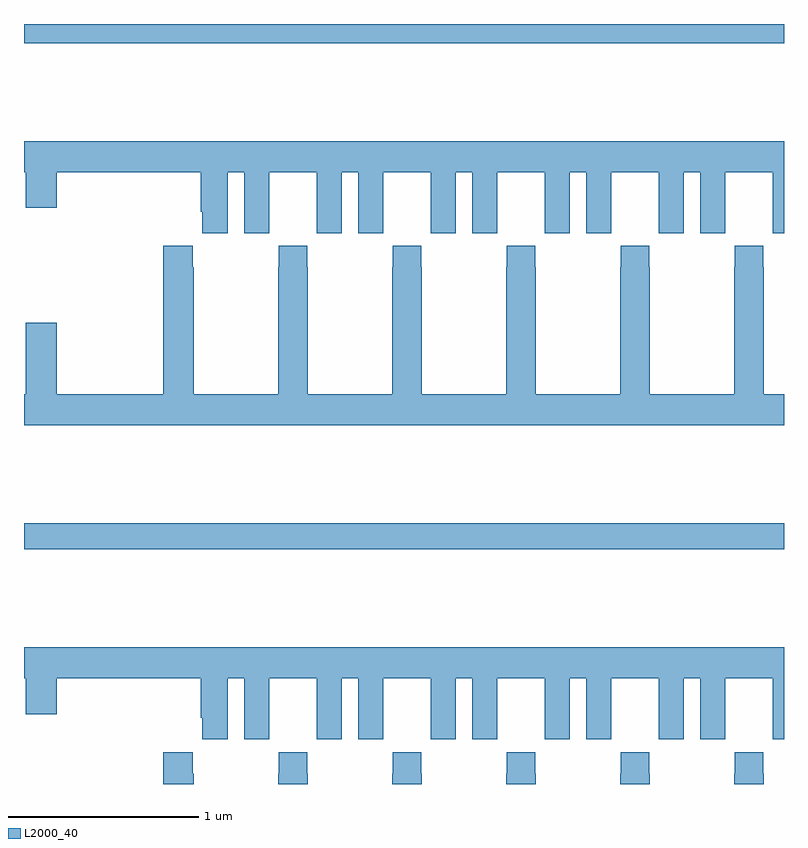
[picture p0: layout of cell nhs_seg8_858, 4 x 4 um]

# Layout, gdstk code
import gdstk
lib = gdstk.Library(unit=1e-6, precision=1e-09)
def R(c, l, rs):  # rectangles x0, y0, x1, y1
    for r in rs: c.add(gdstk.rectangle(r[:2], r[2:], *l))
def P(c, l, *ps):  # polygons
    for p in ps: c.add(gdstk.Polygon(p, *l))
L2000_40 = (2000, 40)

nhs_seg8_858 = lib.new_cell('nhs_seg8_858')
R(nhs_seg8_858, L2000_40, [(165,1161.136,169,1161.272), (165,1163.8,169,1163.9)])
P(nhs_seg8_858, L2000_40, [(166.072,1163.12),(166.16,1163.12),(166.16,1162.8),(166.29,1162.8),(166.29,1162.912),(166.291,1162.912),(166.291,1163.12),(166.541,1163.12),(166.541,1162.912),(166.542,1162.912),(166.542,1162.8),(166.672,1162.8),(166.672,1163.12),(166.76,1163.12),(166.76,1162.8),(166.89,1162.8),(166.89,1162.912),(166.891,1162.912),(166.891,1163.12),(167.141,1163.12),(167.141,1162.912),(167.142,1162.912),(167.142,1162.8),(167.272,1162.8),(167.272,1163.12),(167.36,1163.12),(167.36,1162.8),(167.49,1162.8),(167.49,1162.912),(167.491,1162.912),(167.491,1163.12),(167.741,1163.12),(167.741,1162.912),(167.742,1162.912),(167.742,1162.8),(167.872,1162.8),(167.872,1163.12),(167.96,1163.12),(167.96,1162.8),(168.09,1162.8),(168.09,1162.912),(168.091,1162.912),(168.091,1163.12),(168.341,1163.12),(168.341,1162.912),(168.342,1162.912),(168.342,1162.8),(168.472,1162.8),(168.472,1163.12),(168.56,1163.12),(168.56,1162.8),(168.69,1162.8),(168.69,1162.912),(168.691,1162.912),(168.691,1163.12),(168.941,1163.12),(168.941,1162.912),(168.942,1162.912),(168.942,1162.8),(169,1162.8),(169,1163.284),(165,1163.284),(165,1163.12),(165.008,1163.12),(165.008,1162.932),(165.172,1162.932),(165.172,1163.12),(165.929,1163.12),(165.929,1162.912),(165.938,1162.912),(165.938,1162.8),(166.072,1162.8)],
  [(169,1161.952),(168.894,1161.952),(168.894,1162.619),(168.891,1162.619),(168.891,1162.732),(168.741,1162.732),(168.741,1162.619),(168.739,1162.619),(168.739,1161.952),(168.294,1161.952),(168.294,1162.619),(168.291,1162.619),(168.291,1162.732),(168.141,1162.732),(168.141,1162.619),(168.139,1162.619),(168.139,1161.952),(167.694,1161.952),(167.694,1162.619),(167.691,1162.619),(167.691,1162.732),(167.541,1162.732),(167.541,1162.619),(167.539,1162.619),(167.539,1161.952),(167.094,1161.952),(167.094,1162.619),(167.091,1162.619),(167.091,1162.732),(166.941,1162.732),(166.941,1162.619),(166.939,1162.619),(166.939,1161.952),(166.494,1161.952),(166.494,1162.619),(166.491,1162.619),(166.491,1162.732),(166.341,1162.732),(166.341,1162.619),(166.339,1162.619),(166.339,1161.952),(165.894,1161.952),(165.894,1162.619),(165.887,1162.619),(165.887,1162.732),(165.734,1162.732),(165.734,1161.952),(165.172,1161.952),(165.172,1162.327),(165.008,1162.327),(165.008,1161.952),(165,1161.952),(165,1161.788),(169,1161.788)],
  [(165,1160.456),(165.008,1160.456),(165.008,1160.268),(165.172,1160.268),(165.172,1160.456),(165.929,1160.456),(165.929,1160.248),(165.938,1160.248),(165.938,1160.136),(166.072,1160.136),(166.072,1160.456),(166.16,1160.456),(166.16,1160.136),(166.29,1160.136),(166.29,1160.248),(166.291,1160.248),(166.291,1160.456),(166.541,1160.456),(166.541,1160.248),(166.542,1160.248),(166.542,1160.136),(166.672,1160.136),(166.672,1160.456),(166.76,1160.456),(166.76,1160.136),(166.89,1160.136),(166.89,1160.248),(166.891,1160.248),(166.891,1160.456),(167.141,1160.456),(167.141,1160.248),(167.142,1160.248),(167.142,1160.136),(167.272,1160.136),(167.272,1160.456),(167.36,1160.456),(167.36,1160.136),(167.49,1160.136),(167.49,1160.248),(167.491,1160.248),(167.491,1160.456),(167.741,1160.456),(167.741,1160.248),(167.742,1160.248),(167.742,1160.136),(167.872,1160.136),(167.872,1160.456),(167.96,1160.456),(167.96,1160.136),(168.09,1160.136),(168.09,1160.248),(168.091,1160.248),(168.091,1160.456),(168.341,1160.456),(168.341,1160.248),(168.342,1160.248),(168.342,1160.136),(168.472,1160.136),(168.472,1160.456),(168.56,1160.456),(168.56,1160.136),(168.69,1160.136),(168.69,1160.248),(168.691,1160.248),(168.691,1160.456),(168.941,1160.456),(168.941,1160.248),(168.942,1160.248),(168.942,1160.136),(169,1160.136),(169,1160.62),(165,1160.62)],
  [(165.894,1159.955),(165.887,1159.955),(165.887,1160.068),(165.734,1160.068),(165.734,1159.9),(165.894,1159.9)],
  [(166.494,1159.955),(166.491,1159.955),(166.491,1160.068),(166.341,1160.068),(166.341,1159.955),(166.339,1159.955),(166.339,1159.9),(166.494,1159.9)],
  [(167.094,1159.955),(167.091,1159.955),(167.091,1160.068),(166.941,1160.068),(166.941,1159.955),(166.939,1159.955),(166.939,1159.9),(167.094,1159.9)],
  [(167.694,1159.955),(167.691,1159.955),(167.691,1160.068),(167.541,1160.068),(167.541,1159.955),(167.539,1159.955),(167.539,1159.9),(167.694,1159.9)],
  [(168.294,1159.955),(168.291,1159.955),(168.291,1160.068),(168.141,1160.068),(168.141,1159.955),(168.139,1159.955),(168.139,1159.9),(168.294,1159.9)],
  [(168.894,1159.955),(168.891,1159.955),(168.891,1160.068),(168.741,1160.068),(168.741,1159.955),(168.739,1159.955),(168.739,1159.9),(168.894,1159.9)])

lib.write_gds('nhs_seg8_858.gds')
